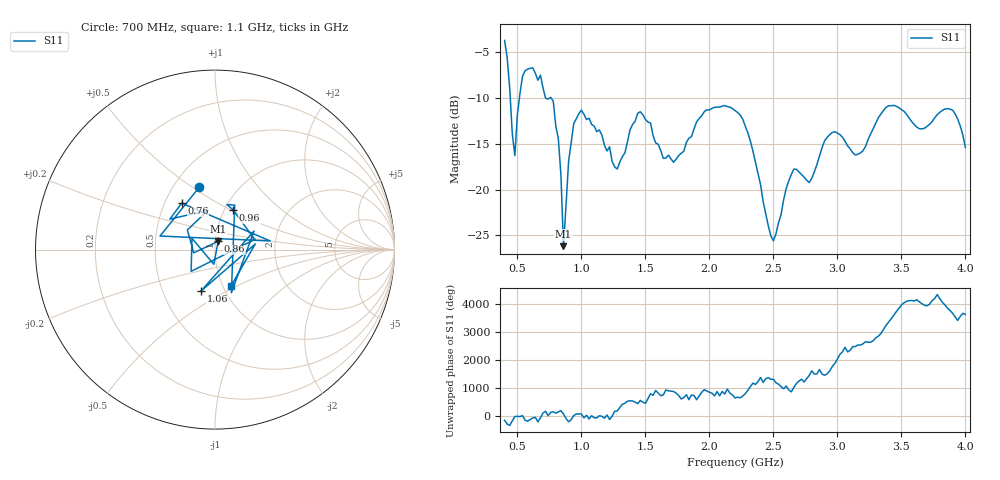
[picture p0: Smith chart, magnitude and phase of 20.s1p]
!Created with skrf (http://scikit-rf.org).
# Hz S RI R 50.0
!freq ReS11 ImS11
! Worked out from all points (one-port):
!   181 points, 400 MHz to 4 GHz, reference 50 ohm
!   lowest |S11| = -26.2 dB at 860 MHz (marker M1), VSWR 1.10, Z = 51.6 + j4.74 ohm
!   |S11| at or under -10 dB: 444.2 MHz to 515.8 MHz (71.54 MHz wide, 14.9 % of centre); 719.5 MHz to 753.4 MHz (33.91 MHz wide, 4.6 % of centre); 763 MHz to end of sweep
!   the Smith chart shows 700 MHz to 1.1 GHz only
!   S11 on the Smith chart (normalised r, x): 700 MHz: 0.67, +0.53; 760 MHz: 0.61, +0.35; 860 MHz: 1.03, +0.09; 960 MHz: 1.10, +0.52; 1.06 GHz: 0.77, -0.38; 1.1 GHz: 1.09, -0.47
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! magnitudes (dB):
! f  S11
! 400 MHz  -3.7
! 480 MHz  -16.3
! 540 MHz  -7.6
! 700 MHz  -8.9
! 760 MHz  -9.9
! 820 MHz  -14.5
! 840 MHz  -18.4
! 860 MHz  -26.2
! 900 MHz  -16.9
! 960 MHz  -12.3
! 1.06 GHz  -12.2
! 1.1 GHz  -13.1
! 1.3 GHz  -17.0
! 1.46 GHz  -11.5
! 1.64 GHz  -16.6
! 1.76 GHz  -16.3
! 1.96 GHz  -11.5
! 2.2 GHz  -11.4
! 2.32 GHz  -14.7
! 2.5 GHz  -25.6
! 2.66 GHz  -17.8
! 2.78 GHz  -19.2
! 2.96 GHz  -13.8
! 3.1 GHz  -15.6
! 3.4 GHz  -10.8
! 3.56 GHz  -12.2
! 3.9 GHz  -11.3
! 4 GHz  -15.4
